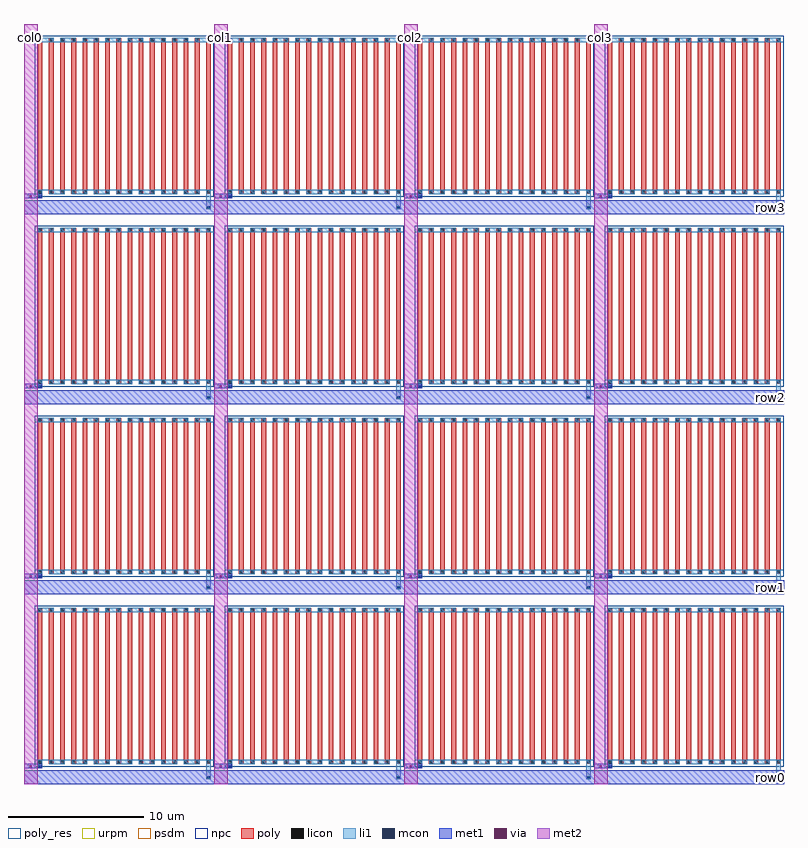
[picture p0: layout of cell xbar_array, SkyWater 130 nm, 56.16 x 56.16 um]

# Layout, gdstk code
import gdstk
lib = gdstk.Library(unit=1e-6, precision=1e-09)
def R(c, l, rs):  # rectangles x0, y0, x1, y1
    for r in rs: c.add(gdstk.rectangle(r[:2], r[2:], *l))
def A(c, l, x, y, w, h, nx, ny, dx, dy):  # array of equal rectangles
    R(c, l, [(x+i*dx, y+j*dy, x+i*dx+w, y+j*dy+h) for i in range(nx) for j in range(ny)])
poly_res = (66, 13)
poly = (66, 20)
licon = (66, 44)
li1 = (67, 20)
mcon = (67, 44)
met1 = (68, 20)
via = (68, 44)
met2 = (69, 20)
urpm = (79, 20)
psdm = (94, 20)
npc = (95, 20)

xbar_cell = lib.new_cell('xbar_cell')
R(xbar_cell, poly_res, [(0.81,1.77,14.01,12.71)])
A(xbar_cell, poly, 1.01, 1.49, 0.35, 11.5, 16, 1, 0.83, 0)
A(xbar_cell, licon, 1.1, 1.545, 0.17, 0.17, 16, 2, 0.83, 11.22)
A(xbar_cell, li1, 1.85, 1.465, 1.16, 0.33, 7, 1, 1.66, 0)
A(xbar_cell, li1, 1.02, 12.685, 1.16, 0.33, 8, 1, 1.66, 0)
R(xbar_cell, li1, [(13.47,0.335,13.8,1.795), (1.02,1.15,1.35,1.795)])
R(xbar_cell, mcon, [(13.55,0.415,13.72,0.585), (1.1,1.23,1.27,1.4)])
R(xbar_cell, met1, [(0,1.15,1.35,1.48)])
R(xbar_cell, via, [(0.425,1.24,0.575,1.39)])
R(xbar_cell, urpm, [(0.81,1.29,14.01,13.19)])
R(xbar_cell, psdm, [(0.81,1.29,14.01,13.19)])
R(xbar_cell, npc, [(0.81,1.29,14.01,13.19)])

xbar_array = lib.new_cell('xbar_array')
A(xbar_array, met1, 0, 0, 56.16, 1, 1, 4, 0, 14.04)
A(xbar_array, met2, 0, 0, 1, 56.16, 4, 1, 14.04, 0)
r = gdstk.Reference(xbar_cell, (0,0)); r.repetition = gdstk.Repetition(4, 4, v1=(14.04,0), v2=(0,14.04)); xbar_array.add(r)
xbar_array.add(gdstk.Label('row0', (55.16,0.5), layer=68, texttype=5))
xbar_array.add(gdstk.Label('row1', (55.16,14.54), layer=68, texttype=5))
xbar_array.add(gdstk.Label('row2', (55.16,28.58), layer=68, texttype=5))
xbar_array.add(gdstk.Label('row3', (55.16,42.62), layer=68, texttype=5))
xbar_array.add(gdstk.Label('col0', (0.5,55.16), layer=69, texttype=5))
xbar_array.add(gdstk.Label('col1', (14.54,55.16), layer=69, texttype=5))
xbar_array.add(gdstk.Label('col2', (28.58,55.16), layer=69, texttype=5))
xbar_array.add(gdstk.Label('col3', (42.62,55.16), layer=69, texttype=5))

lib.write_gds('xbar_array.gds')
